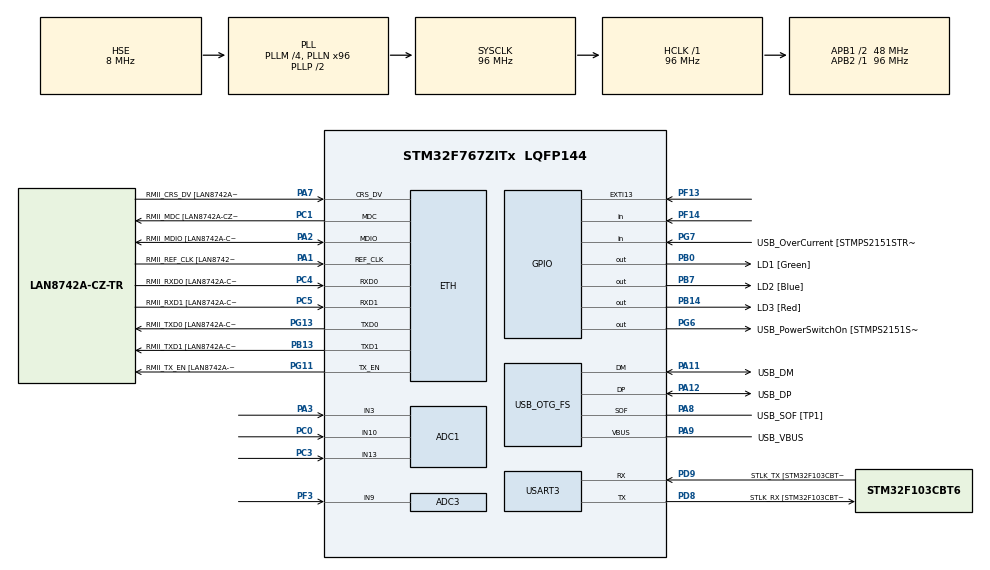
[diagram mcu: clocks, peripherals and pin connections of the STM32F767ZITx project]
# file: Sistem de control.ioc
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ADC1.Channel-0\#ChannelRegularConversion=ADC_CHANNEL_3
ADC1.NbrOfConversionFlag=1
ADC1.Rank-0\#ChannelRegularConversion=1
ADC1.SamplingTime-0\#ChannelRegularConversion=ADC_SAMPLETIME_3CYCLES
ADC1.master=1
ADC3.Channel-0\#ChannelRegularConversion=ADC_CHANNEL_9
ADC3.NbrOfConversionFlag=1
ADC3.Rank-0\#ChannelRegularConversion=1
ADC3.SamplingTime-0\#ChannelRegularConversion=ADC_SAMPLETIME_3CYCLES
CORTEX_M7.CPU_DCache=Enabled
CORTEX_M7.CPU_ICache=Enabled
CORTEX_M7.default_mode_Activation=1
ETH.MediaInterface=HAL_ETH_RMII_MODE
ETH.PHY_Name=LAN8742A_PHY_ADDRESS
ETH.PHY_Value=0
ETH.PhyAddress=0
ETH.RxBuffLen=1536
FREERTOS.Tasks01=defaultTask,0,1024,StartDefaultTask,Default,NULL,Dynamic,NULL,NULL;ADC_Readings,0,512,StartAdcReadings,Default,NULL,Dynamic,NULL,NULL
FREERTOS.configUSE_NEWLIB_REENTRANT=1
LWIP.BSP.number=1
LWIP.GATEWAY_ADDRESS=192.168.001.001
LWIP.IP_ADDRESS=192.168.001.100
LWIP.LWIP_DHCP=0
LWIP.NETMASK_ADDRESS=255.255.255.000
LWIP.Version=v2.1.2_Cube
LWIP0.BSP.STBoard=false
LWIP0.BSP.api=BSP_COMPONENT_DRIVER
LWIP0.BSP.component=LAN8742
LWIP0.BSP.instance=LAN8742
LWIP0.BSP.name=Driver_PHY
LWIP0.BSP.semaphore=S_LAN8742
LWIP0.BSP.solution=LAN8742
Mcu.Family=STM32F7
Mcu.Name=STM32F767ZITx
Mcu.Package=LQFP144
NVIC.ETH_IRQn=true\:5\:0\:false\:false\:true\:true\:true\:true\:true
NVIC.ETH_WKUP_IRQn=true\:5\:0\:false\:false\:true\:true\:true\:true\:true
NVIC.PriorityGroup=NVIC_PRIORITYGROUP_4
NVIC.TIM6_DAC_IRQn=true\:15\:0\:false\:false\:true\:false\:false\:true\:true
NVIC.TimeBase=TIM6_DAC_IRQn
NVIC.TimeBaseIP=TIM6
PA1.GPIO_Label=RMII_REF_CLK [LAN8742A-CZ-TR_REFCLK0]
PA1.Mode=RMII
PA1.Signal=ETH_REF_CLK
PA10.GPIO_Label=USB_ID
PA10.Signal=USB_OTG_FS_ID
PA11.GPIO_Label=USB_DM
PA11.Mode=Device_Only
PA11.Signal=USB_OTG_FS_DM
PA12.GPIO_Label=USB_DP
PA12.Mode=Device_Only
PA12.Signal=USB_OTG_FS_DP
PA13.GPIO_Label=TMS
PA13.Mode=Serial_Wire
PA13.Signal=SYS_JTMS-SWDIO
PA14.GPIO_Label=TCK
PA14.Mode=Serial_Wire
PA14.Signal=SYS_JTCK-SWCLK
PA2.GPIO_Label=RMII_MDIO [LAN8742A-CZ-TR_MDIO]
PA2.Mode=RMII
PA2.Signal=ETH_MDIO
PA3.Signal=ADCx_IN3
PA7.GPIO_Label=RMII_CRS_DV [LAN8742A-CZ-TR_CRS_DV]
PA7.Mode=RMII
PA7.Signal=ETH_CRS_DV
PA8.GPIO_Label=USB_SOF [TP1]
PA8.Mode=Activate_SOF_FS
PA8.Signal=USB_OTG_FS_SOF
PA9.GPIO_Label=USB_VBUS
PA9.Mode=Activate_VBUS
PA9.Signal=USB_OTG_FS_VBUS
PB0.GPIO_Label=LD1 [Green]
PB0.Signal=GPIO_Output
PB13.GPIO_Label=RMII_TXD1 [LAN8742A-CZ-TR_TXD1]
PB13.Mode=RMII
PB13.Signal=ETH_TXD1
PB14.GPIO_Label=LD3 [Red]
PB14.Signal=GPIO_Output
PB3.GPIO_Label=SWO
PB3.Signal=SYS_JTDO-SWO
PB7.GPIO_Label=LD2 [Blue]
PB7.Signal=GPIO_Output
PC0.Signal=ADCx_IN10
PC1.GPIO_Label=RMII_MDC [LAN8742A-CZ-TR_MDC]
PC1.Mode=RMII
PC1.Signal=ETH_MDC
PC14/OSC32_IN.Mode=LSE-External-Oscillator
PC14/OSC32_IN.Signal=RCC_OSC32_IN
PC15/OSC32_OUT.Mode=LSE-External-Oscillator
PC15/OSC32_OUT.Signal=RCC_OSC32_OUT
PC3.Signal=ADCx_IN13
PC4.GPIO_Label=RMII_RXD0 [LAN8742A-CZ-TR_RXD0]
PC4.Mode=RMII
PC4.Signal=ETH_RXD0
PC5.GPIO_Label=RMII_RXD1 [LAN8742A-CZ-TR_RXD1]
PC5.Mode=RMII
PC5.Signal=ETH_RXD1
PD8.GPIO_Label=STLK_RX [STM32F103CBT6_PA3]
PD8.Mode=Asynchronous
PD8.Signal=USART3_TX
PD9.GPIO_Label=STLK_TX [STM32F103CBT6_PA2]
PD9.Mode=Asynchronous
PD9.Signal=USART3_RX
PF13.Signal=GPXTI13
PF14.Signal=GPIO_Input
PF3.Mode=IN9
PF3.Signal=ADC3_IN9
PG11.GPIO_Label=RMII_TX_EN [LAN8742A-CZ-TR_TXEN]
PG11.Mode=RMII
PG11.Signal=ETH_TX_EN
PG13.GPIO_Label=RMII_TXD0 [LAN8742A-CZ-TR_TXD0]
PG13.Mode=RMII
PG13.Signal=ETH_TXD0
PG6.GPIO_Label=USB_PowerSwitchOn [STMPS2151STR_EN]
PG6.Signal=GPIO_Output
PG7.GPIO_Label=USB_OverCurrent [STMPS2151STR_FAULT]
PG7.Signal=GPIO_Input
PH0/OSC_IN.GPIO_Label=MCO [STM32F103CBT6_PA8]
PH0/OSC_IN.Mode=HSE-External-Clock-Source
PH0/OSC_IN.Signal=RCC_OSC_IN
PH1/OSC_OUT.Mode=HSE-External-Clock-Source
PH1/OSC_OUT.Signal=RCC_OSC_OUT
ProjectManager.HeapSize=0x200
ProjectManager.StackSize=0x400
ProjectManager.TargetToolchain=STM32CubeIDE
RCC.48MHZClocksFreq_Value=24000000
RCC.AHBFreq_Value=96000000
RCC.APB1CLKDivider=RCC_HCLK_DIV2
RCC.APB1Freq_Value=48000000
RCC.APB1TimFreq_Value=96000000
RCC.APB2Freq_Value=96000000
RCC.APB2TimFreq_Value=96000000
RCC.CortexFreq_Value=96000000
RCC.HCLKFreq_Value=96000000
RCC.HSE_VALUE=8000000
RCC.HSI_VALUE=16000000
RCC.PLLM=4
RCC.PLLMUL=RCC_PLL_MUL9
RCC.PLLN=96
RCC.PLLQ=4
RCC.PRESCALERUSB=RCC_USBCLKSOURCE_PLL_DIV1_5
RCC.SYSCLKFreq_VALUE=96000000
RCC.SYSCLKSource=RCC_SYSCLKSOURCE_PLLCLK
RCC.SYSCLKSourceVirtual=RCC_SYSCLKSOURCE_PLLCLK
RCC.USBFreq_Value=48000000
RCC.VCOOutputFreq_Value=192000000
SH.ADCx_IN10.0=ADC1_IN10,IN10
SH.ADCx_IN13.0=ADC1_IN13,IN13
SH.ADCx_IN3.0=ADC1_IN3,IN3
USART3.VirtualMode-Asynchronous=VM_ASYNC
USB_OTG_FS.VirtualMode=Device_Only
VP_FREERTOS_VS_CMSIS_V1.Mode=CMSIS_V1
VP_LWIP_VS_Enabled.Mode=Enabled
VP_SYS_VS_tim6.Mode=TIM6
board=NUCLEO-F767ZI

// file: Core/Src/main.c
/* USER CODE BEGIN Header */
/**
  ******************************************************************************
  * @file           : main.c
  * @brief          : Main program body
  ******************************************************************************
  * @attention
  *
  * Copyright (c) 2026 STMicroelectronics.
  * All rights reserved.
  *
  * This software is licensed under terms that can be found in the LICENSE file
  * in the root directory of this software component.
  * If no LICENSE file comes with this software, it is provided AS-IS.
  *
  ******************************************************************************
  */
/* USER CODE END Header */
#include "main.h"
#include "cmsis_os.h"
#include "adc.h"
#include "lwip.h"
#include "usart.h"
#include "usb_otg.h"
#include "gpio.h"
#include "udp.h"

void SystemClock_Config(void);
static void MPU_Config(void);
void MX_FREERTOS_Init(void);

int main(void)
{

  /* MPU Configuration--------------------------------------------------------*/
  MPU_Config();

  /* Enable the CPU Cache */

  /* Enable I-Cache---------------------------------------------------------*/
  SCB_EnableICache();

  /* Enable D-Cache---------------------------------------------------------*/
  //SCB_EnableDCache();

  /* MCU Configuration--------------------------------------------------------*/

  /* Reset of all peripherals, Initializes the Flash interface and the Systick. */
  HAL_Init();

  /* Configure the system clock */
  SystemClock_Config();

  /* Initialize all configured peripherals */
  MX_GPIO_Init();
  MX_USART3_UART_Init();
  MX_USB_OTG_FS_PCD_Init();
  MX_ADC1_Init();
  MX_ADC3_Init();

  /* Call init function for freertos objects (in cmsis_os2.c) */
  MX_FREERTOS_Init();

  /* Start scheduler */
  osKernelStart();

  /* We should never get here as control is now taken by the scheduler */

  /* Infinite loop */
  while (1)
  {

  }
}

void SystemClock_Config(void)
{
  RCC_OscInitTypeDef RCC_OscInitStruct = {0};
  RCC_ClkInitTypeDef RCC_ClkInitStruct = {0};

  /** Configure LSE Drive Capability
  */
  HAL_PWR_EnableBkUpAccess();

  /** Configure the main internal regulator output voltage
  */
  __HAL_RCC_PWR_CLK_ENABLE();
  __HAL_PWR_VOLTAGESCALING_CONFIG(PWR_REGULATOR_VOLTAGE_SCALE3);

  /** Initializes the RCC Oscillators according to the specified parameters
  * in the RCC_OscInitTypeDef structure.
  */
  RCC_OscInitStruct.OscillatorType = RCC_OSCILLATORTYPE_HSE;
  RCC_OscInitStruct.HSEState = RCC_HSE_BYPASS;
  RCC_OscInitStruct.PLL.PLLState = RCC_PLL_ON;
  RCC_OscInitStruct.PLL.PLLSource = RCC_PLLSOURCE_HSE;
  RCC_OscInitStruct.PLL.PLLM = 4;
  RCC_OscInitStruct.PLL.PLLN = 96;
  RCC_OscInitStruct.PLL.PLLP = RCC_PLLP_DIV2;
  RCC_OscInitStruct.PLL.PLLQ = 4;
  RCC_OscInitStruct.PLL.PLLR = 2;
  if (HAL_RCC_OscConfig(&RCC_OscInitStruct) != HAL_OK)
  {
    Error_Handler();
  }

  /** Activate the Over-Drive mode
  */
  if (HAL_PWREx_EnableOverDrive() != HAL_OK)
  {
    Error_Handler();
  }

  /** Initializes the CPU, AHB and APB buses clocks
  */
  RCC_ClkInitStruct.ClockType = RCC_CLOCKTYPE_HCLK|RCC_CLOCKTYPE_SYSCLK
                              |RCC_CLOCKTYPE_PCLK1|RCC_CLOCKTYPE_PCLK2;
  RCC_ClkInitStruct.SYSCLKSource = RCC_SYSCLKSOURCE_PLLCLK;
  RCC_ClkInitStruct.AHBCLKDivider = RCC_SYSCLK_DIV1;
  RCC_ClkInitStruct.APB1CLKDivider = RCC_HCLK_DIV2;
  RCC_ClkInitStruct.APB2CLKDivider = RCC_HCLK_DIV1;

  if (HAL_RCC_ClockConfig(&RCC_ClkInitStruct, FLASH_LATENCY_3) != HAL_OK)
  {
    Error_Handler();
  }
}

 /* MPU Configuration */

void MPU_Config(void)
{
  MPU_Region_InitTypeDef MPU_InitStruct = {0};

  /* Disables the MPU */
  HAL_MPU_Disable();

  /** Initializes and configures the Region and the memory to be protected
  */
  MPU_InitStruct.Enable = MPU_REGION_ENABLE;
  MPU_InitStruct.Number = MPU_REGION_NUMBER0;
  MPU_InitStruct.BaseAddress =0x2007C000;
  MPU_InitStruct.Size = MPU_REGION_SIZE_16KB;
  MPU_InitStruct.SubRegionDisable = 0x00;
  MPU_InitStruct.TypeExtField = MPU_TEX_LEVEL0;
  MPU_InitStruct.AccessPermission = MPU_REGION_FULL_ACCESS;
  MPU_InitStruct.DisableExec = MPU_INSTRUCTION_ACCESS_DISABLE;
  MPU_InitStruct.IsShareable = MPU_ACCESS_SHAREABLE;
  MPU_InitStruct.IsCacheable = MPU_ACCESS_NOT_CACHEABLE;
  MPU_InitStruct.IsBufferable = MPU_ACCESS_NOT_BUFFERABLE;

  HAL_MPU_ConfigRegion(&MPU_InitStruct);
  /* Enables the MPU */
  HAL_MPU_Enable(MPU_PRIVILEGED_DEFAULT);

}

void HAL_TIM_PeriodElapsedCallback(TIM_HandleTypeDef *htim)
{
  if (htim->Instance == TIM6)
  {
    HAL_IncTick();
  }
}

void Error_Handler(void)
{
  __disable_irq();
  while (1)
  {
  }
}

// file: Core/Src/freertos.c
/* USER CODE BEGIN Header */
/**
  ******************************************************************************
  * File Name          : freertos.c
  * Description        : Code for freertos applications
  ******************************************************************************
  */
/* USER CODE END Header */

#include "FreeRTOS.h"
#include "task.h"
#include "main.h"
#include "cmsis_os.h"

/* USER CODE BEGIN Includes */
#include "lwip/netif.h"
#include "lwip/ip4_addr.h"
#include "ethernetif.h"
#include "netif/etharp.h"
#include "adc.h"
#include <stdio.h>
#include "udp.h"
#include "lwip.h"
extern struct netif gnetif;
/* USER CODE END Includes */

/* USER CODE BEGIN PTD */
typedef struct{
float x1, y1, x2,y2;
uint32_t ts;

}Joysticks;
/* USER CODE END PTD */

/* USER CODE BEGIN Variables */
QueueHandle_t QueueJoysticks;

extern ADC_HandleTypeDef hadc1;
extern UART_HandleTypeDef huart3;
extern ADC_HandleTypeDef hadc3;
extern ETH_HandleTypeDef heth;
extern volatile uint32_t dbg_rx_isr, dbg_rx_pkts, dbg_tx_calls, dbg_tx_ok;
/* USER CODE END Variables */
osThreadId defaultTaskHandle;
osThreadId ADC_ReadingsHandle;

/* USER CODE BEGIN FunctionPrototypes */
float Read_Analogic_Pin(ADC_HandleTypeDef *hadc, uint32_t channel);
/* USER CODE END FunctionPrototypes */

void StartDefaultTask(void const * argument);
void StartAdcReadings(void const * argument);

extern void MX_LWIP_Init(void);
void MX_FREERTOS_Init(void); /* (MISRA C 2004 rule 8.1) */

/* GetIdleTaskMemory prototype (linked to static allocation support) */
void vApplicationGetIdleTaskMemory( StaticTask_t **ppxIdleTaskTCBBuffer, StackType_t **ppxIdleTaskStackBuffer, uint32_t *pulIdleTaskStackSize );

/* USER CODE BEGIN GET_IDLE_TASK_MEMORY */
static StaticTask_t xIdleTaskTCBBuffer;
static StackType_t xIdleStack[configMINIMAL_STACK_SIZE];

void vApplicationGetIdleTaskMemory( StaticTask_t **ppxIdleTaskTCBBuffer, StackType_t **ppxIdleTaskStackBuffer, uint32_t *pulIdleTaskStackSize )
{
  *ppxIdleTaskTCBBuffer = &xIdleTaskTCBBuffer;
  *ppxIdleTaskStackBuffer = &xIdleStack[0];
  *pulIdleTaskStackSize = configMINIMAL_STACK_SIZE;
}
/* USER CODE END GET_IDLE_TASK_MEMORY */

void MX_FREERTOS_Init(void) {

  /* USER CODE BEGIN RTOS_QUEUES */
	 QueueJoysticks = xQueueCreate(1, sizeof(Joysticks));
  /* USER CODE END RTOS_QUEUES */

  /* Create the thread(s) */
  /* definition and creation of defaultTask */
  osThreadDef(defaultTask, StartDefaultTask, osPriorityNormal, 0, 1024);
  defaultTaskHandle = osThreadCreate(osThread(defaultTask), NULL);

  /* definition and creation of ADC_Readings */
  osThreadDef(ADC_Readings, StartAdcReadings, osPriorityNormal, 0, 512);
  ADC_ReadingsHandle = osThreadCreate(osThread(ADC_Readings), NULL);

}

void StartDefaultTask(void const * argument)
{
  /* init code for LWIP */
  MX_LWIP_Init();
  /* USER CODE BEGIN StartDefaultTask */

  osDelay(2000);
 udpServer_init();
  Joysticks test;

	  uint32_t cnt = 0;
	    for(;;)
	    {

	    	// MX_LWIP_Process();

	    	HAL_GPIO_TogglePin(GPIOB, GPIO_PIN_0);   // LED albastru
	      osDelay(200);

	      if (++cnt >= 5)
	      {
	        cnt = 0;
	        printf("rxISR=%lu rxPkts=%lu txCalls=%lu txOk=%lu MMCtx=%lu MMCcrcErr=%lu\r\n",
	               (unsigned long)dbg_rx_isr,  (unsigned long)dbg_rx_pkts,
	               (unsigned long)dbg_tx_calls, (unsigned long)dbg_tx_ok,
	               (unsigned long)heth.Instance->MMCTGFCR,
	               (unsigned long)heth.Instance->MMCRFCECR);

//	   if(xQueuePeek(QueueJoysticks, &test,0)==pdTRUE){
////		   printf("X1=%.2f Y1=%.2f X2=%.2f Y2=%.2f\r\n",
////		         test.x1, test.y1, test.x2, test.y2);
		  osDelay(200);

	   //}

	      }
	    }
  /* USER CODE END StartDefaultTask */
}

void StartAdcReadings(void const * argument)
{
  /* USER CODE BEGIN StartAdcReadings */
  /* Prioritate mica, ca sa nu intarzie thread-urile LwIP/Ethernet */
  osThreadSetPriority(NULL, osPriorityLow);

  Joysticks joysticks;

  /* Infinite loop */
  for(;;)
  {
    joysticks.x1  = Read_Analogic_Pin(&hadc1, ADC_CHANNEL_3);
    joysticks.y1 = Read_Analogic_Pin(&hadc1, ADC_CHANNEL_10);
    joysticks.x2  = Read_Analogic_Pin(&hadc3, ADC_CHANNEL_13);
    joysticks.y2  = Read_Analogic_Pin(&hadc3, ADC_CHANNEL_9);
    joysticks.ts = xTaskGetTickCount();

//    printf("A0 (PA3): %.2f V | A1 (PC0): %.2f V | A3 (PF3): %.2f V\r\n",
//           voltaj, voltaj1, voltaj2);

    xQueueOverwrite(QueueJoysticks, &joysticks);
    osDelay(10);

  }
  /* USER CODE END StartAdcReadings */
}

/* USER CODE BEGIN Application */
float Read_Analogic_Pin(ADC_HandleTypeDef *hadc, uint32_t channel){
  ADC_ChannelConfTypeDef sConfig = {0};
  uint32_t raw_value = 0;
  float voltage = 0.0f;
  sConfig.Channel = channel;
  sConfig.Rank = 1;
  sConfig.SamplingTime = ADC_SAMPLETIME_56CYCLES;
  if(HAL_ADC_ConfigChannel(hadc, &sConfig) != HAL_OK){
    return -1.0f;
  }
  HAL_ADC_Start(hadc);
  if(HAL_ADC_PollForConversion(hadc, 10) == HAL_OK){
    raw_value = HAL_ADC_GetValue(hadc);
    voltage = ((float)raw_value * 3.3f) / 4095.0f;
  }
  HAL_ADC_Stop(hadc);
  return voltage;
}

int _write(int file, char *ptr, int len)
{
  HAL_UART_Transmit(&huart3, (uint8_t *)ptr, len, HAL_MAX_DELAY);
  return len;
}
/* USER CODE END Application */
